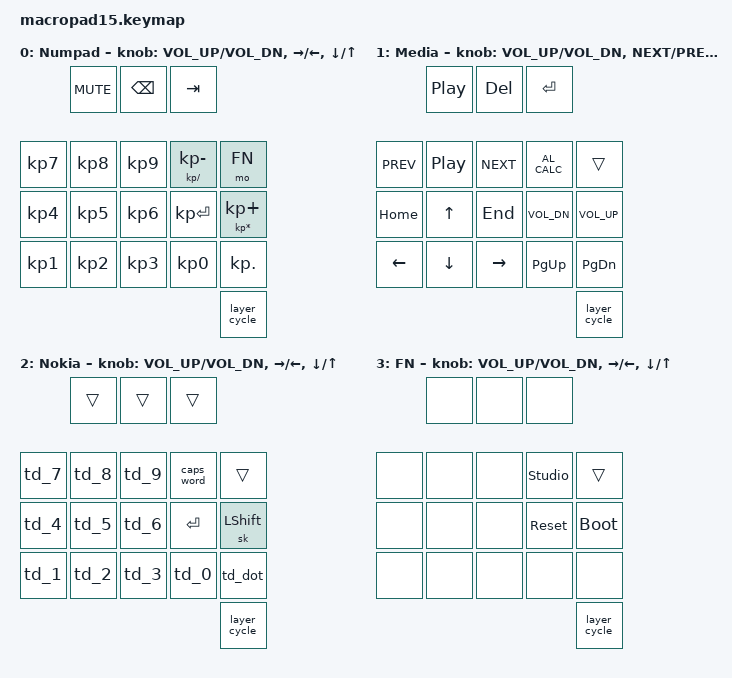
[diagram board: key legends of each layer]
#include <behaviors.dtsi>
#include <dt-bindings/zmk/keys.h>

/*
 * Macropad15 - 15 phim + 3 encoder - Pro Micro RP2040 (chi USB).
 *
 * 4 layer: 0 Numpad, 1 Media, 2 Nokia, 3 FN (giu phim FN).
 *
 * Vi tri phim (so do vat ly 5x3, moi layer co 19 binding = 15 phim + c3r3 + 3 nut nhan encoder):
 *
 *   c0r0  c0r1  c0r2  c0r3  c1r0
 *   c1r1  c1r2  c1r3  c2r0  c2r1
 *   c2r2  c2r3  c3r0  c3r1  c3r2
 *   c3r3 (nut layer cycle, vi tri vat ly: duoi c3r2)
 *   [ENC1 push] [ENC2 push] [ENC3 push]
 *
 * ---- Layer 0: Numpad ----
 *   7    8    9    -(giu: /)   FN (giu)
 *   4    5    6    ENTER       +(giu: *)
 *   1    2    3    0           .
 *   ENC1: xoay = am luong, nhan = mute
 *   ENC2: xoay = mui ten trai/phai, nhan = Backspace
 *   c3r3: chuyen layer (&layer_cycle) o moi layer
 *   ENC3: xoay = mui ten len/xuong, nhan = Tab
 *
 * ---- Layer 1: Media ----   ---- Layer 2: Nokia ----
 *   Xem ben duoi.
 *
 * Nokia: nhap chu kieu dien thoai Nokia cu (bam lien tiep cung phim de doi ky tu):
 *     1=1abc 2=2def 3=3ghi 4=4jkl 5=5mno 6=6pqr 7=7stu 8=8vwx 9=9yz 0=0+space '.'=. , ? !
 *     c0r3 = Caps Word, c2r1 = Shift (sticky), ENTER giu nguyen, Backspace = nhan ENC2, c3r3 = layer cycle
 *
 * FN (layer 3) o goc tren phai nen luon de len cac layer khac: giu FN thi cac phim
 * FN luon hoat dong, bat ke dang o layer nao.
 *
 * ---- Layer 3: FN (giu phim FN) ----
 *   Hang 1, cot 4 : Studio unlock
 *   Hang 2, cot 4 : reset      Hang 2, cot 5 : bootloader (UF2)
 *   c3r3          : van la layer cycle
 */

#define FN 3

/*
 * Nokia multi-tap: bam lien tiep CUNG phim trong 600ms de doi ky tu.
 * Ky tu hien ngay (gui Backspace + ky tu moi khi doi).
 */
#define MULTITAP(id, title, ...)                            \
    id: id {                                             \
        compatible = "zmk,behavior-multitap";                \
        #binding-cells = <0>;                                \
        display-name = title;                                \
        tapping-term-ms = <600>;                             \
        keys = <__VA_ARGS__>;                                \
    };

/ {
    behaviors {
        MULTITAP(td_1, "Nokia 1abc", N1 A B C)
        MULTITAP(td_2, "Nokia 2def", N2 D E F)
        MULTITAP(td_3, "Nokia 3ghi", N3 G H I)
        MULTITAP(td_4, "Nokia 4jkl", N4 J K L)
        MULTITAP(td_5, "Nokia 5mno", N5 M N O)
        MULTITAP(td_6, "Nokia 6pqr", N6 P Q R)
        MULTITAP(td_7, "Nokia 7stu", N7 S T U)
        MULTITAP(td_8, "Nokia 8vwx", N8 V W X)
        MULTITAP(td_9, "Nokia 9yz", N9 Y Z)
        MULTITAP(td_0, "Nokia 0 space", N0 SPACE)
        MULTITAP(td_dot, "Nokia . , ? !", DOT COMMA QMARK EXCL)

        /*
         * Tap / giu: dung 1 phim cho 2 toan tu.
         * Cu phap: &ht_op <phim khi GIU> <phim khi NHAN NHANH>
         *   &ht_op KP_SLASH KP_MINUS    -> nhan = "-", giu = "/"
         *   &ht_op KP_MULTIPLY KP_PLUS  -> nhan = "+", giu = "*"
         */
        ht_op: ht_op {
            compatible = "zmk,behavior-hold-tap";
            #binding-cells = <2>;
            display-name = "Tap/Hold Operator";
            flavor = "tap-preferred";
            tapping-term-ms = <200>;
            bindings = <&kp>, <&kp>;
        };
    };

    keymap {
        compatible = "zmk,keymap";

        default_layer {
            display-name = "Numpad";
            bindings = <
                &kp KP_N7  &kp KP_N8  &kp KP_N9  &ht_op KP_SLASH KP_MINUS     &mo FN
                &kp KP_N4  &kp KP_N5  &kp KP_N6  &kp KP_ENTER                 &ht_op KP_MULTIPLY KP_PLUS
                &kp KP_N1  &kp KP_N2  &kp KP_N3  &kp KP_N0                    &kp KP_DOT
                &layer_cycle  &kp C_MUTE &kp BSPC   &kp TAB
            >;
            sensor-bindings = <
                &inc_dec_kp C_VOL_UP C_VOL_DN
                &inc_dec_kp RIGHT LEFT
                &inc_dec_kp DOWN UP
            >;
        };

        media_layer {
            display-name = "Media";
            bindings = <
                &kp C_PREV &kp C_PP    &kp C_NEXT &kp C_AL_CALC  &trans
                &kp HOME   &kp UP      &kp END    &kp C_VOL_DN   &kp C_VOL_UP
                &kp LEFT   &kp DOWN    &kp RIGHT  &kp PG_UP      &kp PG_DN
                &layer_cycle  &kp C_PP   &kp DEL     &kp RET
            >;
            sensor-bindings = <
                &inc_dec_kp C_VOL_UP C_VOL_DN
                &inc_dec_kp C_NEXT C_PREV
                &inc_dec_kp PG_DN PG_UP
            >;
        };

        nokia_layer {
            display-name = "Nokia";
            bindings = <
                &td_7      &td_8      &td_9      &caps_word      &trans
                &td_4      &td_5      &td_6      &kp RET         &sk LSHFT
                &td_1      &td_2      &td_3      &td_0           &td_dot
                &layer_cycle  &trans     &trans     &trans
            >;
            sensor-bindings = <
                &inc_dec_kp C_VOL_UP C_VOL_DN
                &inc_dec_kp RIGHT LEFT
                &inc_dec_kp DOWN UP
            >;
        };

        fn_layer {
            display-name = "FN";
            bindings = <
                &none          &none          &none          &studio_unlock  &trans
                &none          &none          &none          &sys_reset      &bootloader
                &none          &none          &none          &none           &none
                &layer_cycle   &none          &none          &none
            >;
            sensor-bindings = <
                &inc_dec_kp C_VOL_UP C_VOL_DN
                &inc_dec_kp RIGHT LEFT
                &inc_dec_kp DOWN UP
            >;
        };
    };
};
